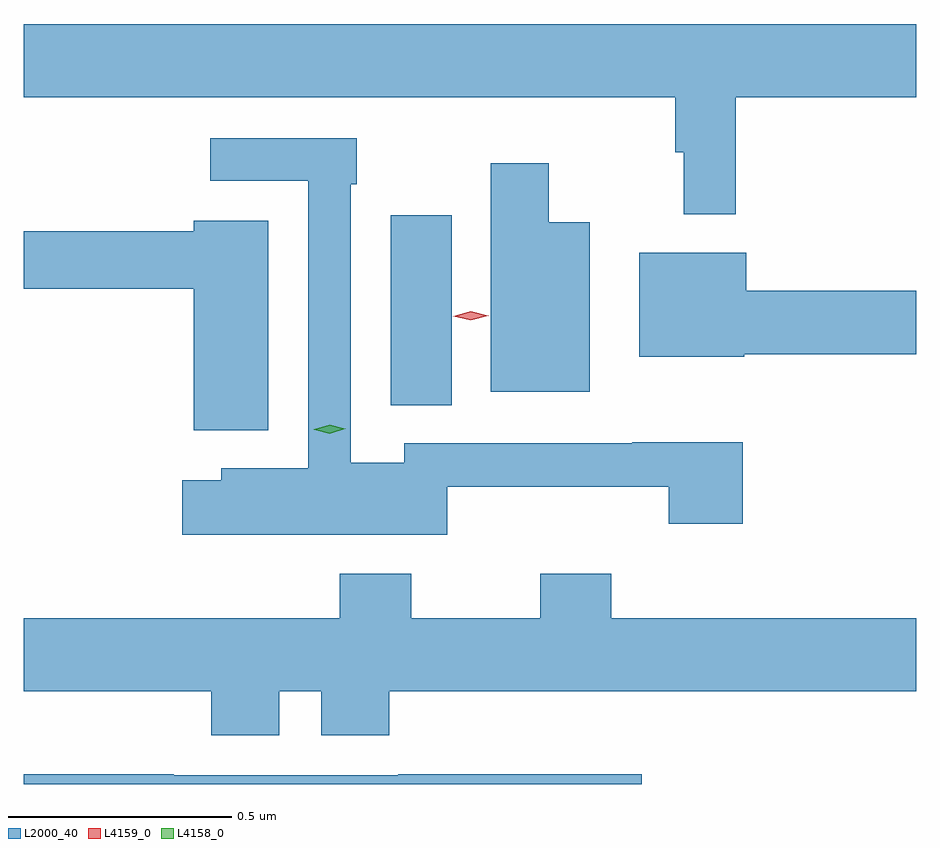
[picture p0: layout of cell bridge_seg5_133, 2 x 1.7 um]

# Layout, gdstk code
import gdstk
lib = gdstk.Library(unit=1e-6, precision=1e-09)
def R(c, l, rs):  # rectangles x0, y0, x1, y1
    for r in rs: c.add(gdstk.rectangle(r[:2], r[2:], *l))
def P(c, l, *ps):  # polygons
    for p in ps: c.add(gdstk.Polygon(p, *l))
L2000_40 = (2000, 40)
L4158_0 = (4158, 0)
L4159_0 = (4159, 0)

bridge_seg5_133 = lib.new_cell('bridge_seg5_133')
R(bridge_seg5_133, L2000_40, [(422.879,889.369,423.016,889.795)])
P(bridge_seg5_133, L2000_40, [(423.653,890.06),(424.057,890.06),(424.057,890.224),(422.057,890.224),(422.057,890.06),(423.517,890.06),(423.517,889.937),(423.536,889.937),(423.536,889.797),(423.653,889.797)],
  [(423.006,889.187),(423.503,889.187),(423.503,889.104),(423.668,889.104),(423.668,889.286),(423.421,889.286),(423.421,889.284),(422.91,889.284),(422.91,889.24),(422.79,889.24),(422.79,889.865),(422.803,889.865),(422.803,889.968),(422.475,889.968),(422.475,889.872),(422.694,889.872),(422.694,889.228),(422.499,889.228),(422.499,889.201),(422.412,889.201),(422.412,889.079),(423.006,889.079)],
  [(423.325,889.78),(423.234,889.78),(423.234,889.912),(423.104,889.912),(423.104,889.4),(423.325,889.4)],
  [(422.605,889.783),(422.438,889.783),(422.438,889.759),(422.057,889.759),(422.057,889.63),(422.438,889.63),(422.438,889.313),(422.605,889.313)],
  [(423.672,889.484),(424.057,889.484),(424.057,889.626),(423.676,889.626),(423.676,889.711),(423.437,889.711),(423.437,889.478),(423.672,889.478)],
  [(422.629,888.728),(422.723,888.728),(422.723,888.629),(422.876,888.629),(422.876,888.728),(424.057,888.728),(424.057,888.892),(423.374,888.892),(423.374,888.991),(423.214,888.991),(423.214,888.892),(422.925,888.892),(422.925,888.991),(422.765,888.991),(422.765,888.892),(422.057,888.892),(422.057,888.728),(422.477,888.728),(422.477,888.629),(422.629,888.629)],
  [(423.442,888.542),(422.896,888.542),(422.896,888.54),(422.393,888.54),(422.393,888.542),(422.057,888.542),(422.057,888.52),(423.442,888.52)])
P(bridge_seg5_133, L4158_0, [(422.743,889.305),(422.708,889.314),(422.707,889.315),(422.708,889.315),(422.742,889.325),(422.777,889.316),(422.778,889.316),(422.777,889.316)])
P(bridge_seg5_133, L4159_0, [(423.059,889.56),(423.019,889.569),(423.019,889.569),(423.019,889.569),(423.059,889.58),(423.098,889.57),(423.099,889.57),(423.098,889.57)])

lib.write_gds('bridge_seg5_133.gds')
